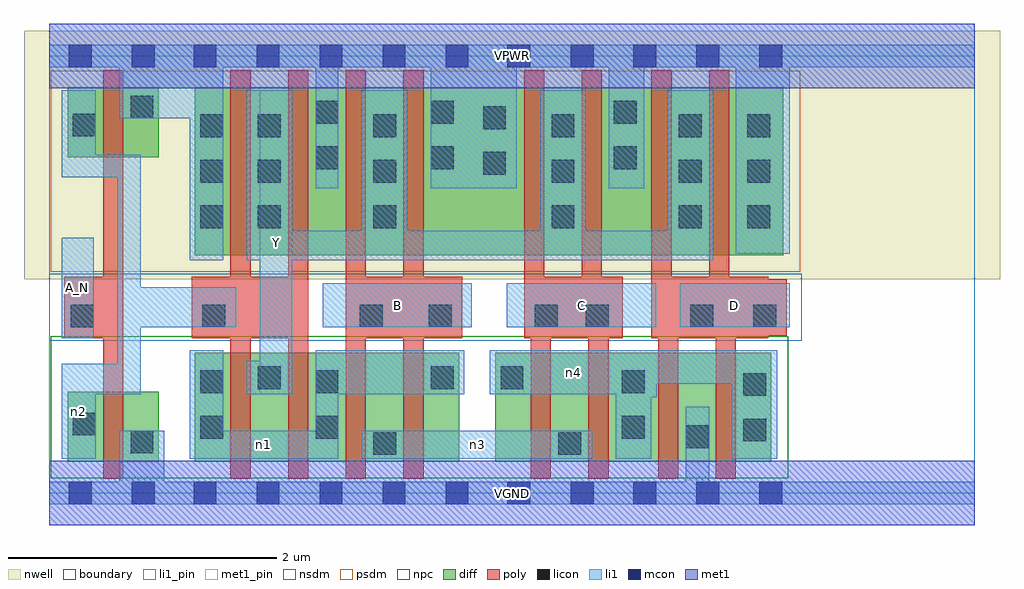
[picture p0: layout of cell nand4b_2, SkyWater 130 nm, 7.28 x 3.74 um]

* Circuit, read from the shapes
.subckt nand4b_2 A_N B C D VGND VPWR Y n1 n2 n3 n4
XM1 VGND A_N n2 VSUBS sky130_fd_pr__nfet_01v8 w=0.52 l=0.15
XM2 Y n2 n1 VSUBS sky130_fd_pr__nfet_01v8 w=0.81 l=0.15 m=2
XM3 n3 B n1 VSUBS sky130_fd_pr__nfet_01v8 w=0.81 l=0.15 m=2
XM4 n3 C n4 VSUBS sky130_fd_pr__nfet_01v8 w=0.81 l=0.15 m=2
XM5 VGND D n4 VSUBS sky130_fd_pr__nfet_01v8 w=0.81 l=0.15 m=2
XM6 VPWR A_N n2 n5 sky130_fd_pr__pfet_01v8 w=0.52 l=0.15
XM7 Y n2 VPWR n5 sky130_fd_pr__pfet_01v8 w=1.25 l=0.15 m=2
XM8 Y B VPWR n5 sky130_fd_pr__pfet_01v8 w=1.25 l=0.15 m=2
XM9 Y C VPWR n5 sky130_fd_pr__pfet_01v8 w=1.25 l=0.15 m=2
XM10 Y D VPWR n5 sky130_fd_pr__pfet_01v8 w=1.25 l=0.15 m=2
.ends

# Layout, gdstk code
import gdstk
lib = gdstk.Library(unit=1e-6, precision=1e-09)
def R(c, l, rs):  # rectangles x0, y0, x1, y1
    for r in rs: c.add(gdstk.rectangle(r[:2], r[2:], *l))
def A(c, l, x, y, w, h, nx, ny, dx, dy):  # array of equal rectangles
    R(c, l, [(x+i*dx, y+j*dy, x+i*dx+w, y+j*dy+h) for i in range(nx) for j in range(ny)])
nwell = (64, 20)
diff = (65, 20)
poly = (66, 20)
licon = (66, 44)
li1_pin = (67, 16)
li1 = (67, 20)
mcon = (67, 44)
met1_pin = (68, 16)
met1 = (68, 20)
nsdm = (93, 44)
psdm = (94, 20)
npc = (95, 20)
boundary = (235, 4)

nand4b_2 = lib.new_cell('nand4b_2')
R(nand4b_2, nwell, [(-0.19,1.595,7.09,3.45), (0,1.595,6.9,3.45)])
R(nand4b_2, diff, [(0.135,0.235,0.815,0.755), (1.085,0.235,3.055,1.045), (3.325,0.235,5.385,1.045), (1.085,1.775,5.475,3.025), (0.135,2.505,0.815,3.025)])
A(nand4b_2, poly, 1.35, 0.105, 0.15, 3.05, 4, 1, 0.43, 0)
R(nand4b_2, poly, [(0.4,0.105,0.55,3.155), (3.59,0.105,3.74,1.615), (4.02,0.105,4.17,1.615), (4.54,0.105,4.69,1.615), (4.97,0.105,5.12,1.615), (0.11,1.155,0.55,1.615), (1.06,1.155,1.93,1.615), (2.21,1.155,3.08,1.615), (3.54,1.155,3.69,3.155), (3.54,1.155,4.275,1.615), (3.97,1.155,4.12,3.155), (4.49,1.155,5.36,1.615), (4.49,1.155,4.64,3.155), (4.92,1.155,5.07,3.155), (4.49,1.175,5.5,1.595)])
A(nand4b_2, licon, 1.125, 1.975, 0.17, 0.17, 1, 3, 0, 0.34)
A(nand4b_2, licon, 1.555, 1.975, 0.17, 0.17, 1, 3, 0, 0.34)
A(nand4b_2, licon, 2.415, 1.975, 0.17, 0.17, 1, 3, 0, 0.34)
A(nand4b_2, licon, 3.745, 1.975, 0.17, 0.17, 1, 3, 0, 0.34)
A(nand4b_2, licon, 4.695, 1.975, 0.17, 0.17, 1, 3, 0, 0.34)
A(nand4b_2, licon, 5.205, 1.975, 0.17, 0.17, 1, 3, 0, 0.34)
R(nand4b_2, licon, [(2.415,0.285,2.585,0.455), (3.795,0.285,3.965,0.455), (0.605,0.295,0.775,0.465), (4.745,0.335,4.915,0.505), (5.175,0.385,5.345,0.555), (1.125,0.405,1.295,0.575), (1.985,0.405,2.155,0.575), (4.27,0.405,4.44,0.575), (0.175,0.43,0.345,0.6), (5.175,0.725,5.345,0.895), (1.125,0.745,1.295,0.915), (1.985,0.745,2.155,0.915), (4.27,0.745,4.44,0.915), (1.555,0.775,1.725,0.945), (2.845,0.775,3.015,0.945), (3.365,0.775,3.535,0.945), (0.16,1.235,0.33,1.405), (1.14,1.235,1.31,1.405), (2.315,1.235,2.485,1.405), (2.83,1.235,3,1.405), (3.62,1.235,3.79,1.405), (4,1.235,4.17,1.405), (4.78,1.235,4.95,1.405), (5.25,1.235,5.42,1.405), (3.235,2.375,3.405,2.545), (1.985,2.415,2.155,2.585), (2.845,2.415,3.015,2.585), (4.21,2.415,4.38,2.585), (0.175,2.66,0.345,2.83), (3.235,2.715,3.405,2.885), (1.985,2.755,2.155,2.925), (2.845,2.755,3.015,2.925), (4.21,2.755,4.38,2.925), (0.605,2.795,0.775,2.965)])
R(nand4b_2, li1_pin, [(1.57,0.735,1.81,3.005), (0.09,1.155,0.33,1.905), (2.04,1.235,3.15,1.565), (3.41,1.235,4.525,1.565), (4.7,1.235,5.52,1.565)])
R(nand4b_2, li1, [(0,-0.085,6.9,0.085), (0.52,-0.085,0.855,0.465), (4.745,-0.085,4.92,0.645), (0.09,0.255,0.345,0.965), (1.045,0.255,2.155,0.465), (1.045,0.255,1.295,1.065), (1.985,0.255,2.155,1.065), (2.33,0.255,4.05,0.465), (4.225,0.255,4.49,1.065), (5.09,0.255,5.43,1.065), (4.225,0.715,4.53,1.065), (0.09,0.735,0.68,0.965), (0.505,0.735,0.68,2.525), (1.47,0.735,1.81,0.985), (1.57,0.735,1.81,3.005), (1.985,0.735,3.095,1.065), (3.285,0.735,4.53,1.065), (3.285,0.815,5.43,1.065), (0.09,1.155,0.33,1.905), (0.505,1.235,1.395,1.535), (2.04,1.235,3.15,1.565), (3.41,1.235,4.525,1.565), (4.7,1.235,5.52,1.565), (1.045,1.735,1.295,3.345), (1.47,1.735,4.95,1.955), (1.47,1.735,1.81,3.005), (2.33,1.735,2.67,3.005), (3.66,1.735,4,3.005), (4.61,1.735,4.95,3.005), (5.12,1.785,5.52,3.345), (1.985,2.275,2.155,3.345), (2.845,2.275,3.485,3.345), (4.17,2.275,4.435,3.345), (0.09,2.355,0.345,3.005), (0.09,2.355,0.68,2.525), (0.52,2.795,1.295,3.345), (0,3.175,6.9,3.345)])
A(nand4b_2, mcon, 1.075, -0.085, 0.17, 0.17, 5, 2, 0.47, 3.26)
A(nand4b_2, mcon, 4.355, -0.085, 0.17, 0.17, 3, 2, 0.47, 3.26)
R(nand4b_2, mcon, [(0.145,-0.085,0.315,0.085), (0.615,-0.085,0.785,0.085), (3.415,-0.085,3.585,0.085), (3.89,-0.085,4.06,0.085), (0.145,3.175,0.315,3.345), (0.615,3.175,0.785,3.345), (3.415,3.175,3.585,3.345), (3.89,3.175,4.06,3.345)])
R(nand4b_2, met1_pin, [(0,-0.24,6.9,0.24), (0,3.02,6.9,3.5)])
R(nand4b_2, met1, [(0,-0.24,6.9,0.24), (0,3.02,6.9,3.5)])
R(nand4b_2, nsdm, [(0.01,0.11,5.51,1.17)])
R(nand4b_2, psdm, [(0.01,1.65,5.6,3.15)])
R(nand4b_2, npc, [(0,1.135,5.61,1.635)])
R(nand4b_2, boundary, [(0,0,6.9,3.26)])
nand4b_2.add(gdstk.Label('A_N', (0.21,1.53), layer=67, texttype=5))
nand4b_2.add(gdstk.Label('B', (2.595,1.4), layer=67, texttype=5))
nand4b_2.add(gdstk.Label('C', (3.967,1.4), layer=67, texttype=5))
nand4b_2.add(gdstk.Label('D', (5.11,1.4), layer=67, texttype=5))
nand4b_2.add(gdstk.Label('Y', (1.69,1.87), layer=67, texttype=5))
nand4b_2.add(gdstk.Label('n3', (3.19,0.36), layer=67, texttype=5))
nand4b_2.add(gdstk.Label('n1', (1.6,0.36), layer=67, texttype=5))
nand4b_2.add(gdstk.Label('n4', (3.907,0.9), layer=67, texttype=5))
nand4b_2.add(gdstk.Label('n2', (0.217,0.61), layer=67, texttype=5))
nand4b_2.add(gdstk.Label('VPWR', (3.45,3.26), layer=68, texttype=5))
nand4b_2.add(gdstk.Label('VGND', (3.45,0), layer=68, texttype=5))
nand4b_2.add(gdstk.Label('A_N', (0.21,1.53), layer=67, texttype=16))
nand4b_2.add(gdstk.Label('B', (2.595,1.4), layer=67, texttype=16))
nand4b_2.add(gdstk.Label('C', (3.967,1.4), layer=67, texttype=16))
nand4b_2.add(gdstk.Label('D', (5.11,1.4), layer=67, texttype=16))
nand4b_2.add(gdstk.Label('Y', (1.69,1.87), layer=67, texttype=16))
nand4b_2.add(gdstk.Label('VPWR', (3.45,3.26), layer=68, texttype=16))
nand4b_2.add(gdstk.Label('VGND', (3.45,0), layer=68, texttype=16))

lib.write_gds('nand4b_2.gds')
